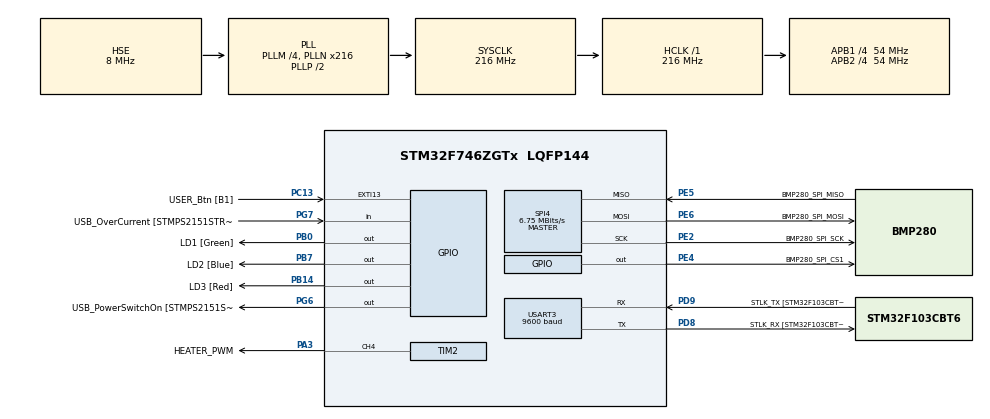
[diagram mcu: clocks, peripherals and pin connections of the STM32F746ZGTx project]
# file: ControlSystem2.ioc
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Mcu.Family=STM32F7
Mcu.Name=STM32F746ZGTx
Mcu.Package=LQFP144
NVIC.PriorityGroup=NVIC_PRIORITYGROUP_4
NVIC.USART3_IRQn=true\:0\:0\:false\:false\:true\:true\:true\:true
PA1.GPIO_Label=RMII_REF_CLK [LAN8742A-CZ-TR_REFCLK0]
PA1.Signal=ETH_REF_CLK
PA10.GPIO_Label=USB_ID
PA10.Signal=USB_OTG_FS_ID
PA11.GPIO_Label=USB_DM
PA11.Signal=USB_OTG_FS_DM
PA12.GPIO_Label=USB_DP
PA12.Signal=USB_OTG_FS_DP
PA13.GPIO_Label=TMS
PA13.Mode=Serial_Wire
PA13.Signal=SYS_JTMS-SWDIO
PA14.GPIO_Label=TCK
PA14.Mode=Serial_Wire
PA14.Signal=SYS_JTCK-SWCLK
PA2.GPIO_Label=RMII_MDIO [LAN8742A-CZ-TR_MDIO]
PA2.Signal=ETH_MDIO
PA3.GPIO_Label=HEATER_PWM
PA3.Signal=S_TIM2_CH4
PA7.GPIO_Label=RMII_CRS_DV [LAN8742A-CZ-TR_CRS_DV]
PA7.Signal=ETH_CRS_DV
PA8.GPIO_Label=USB_SOF [TP1]
PA8.Signal=USB_OTG_FS_SOF
PA9.GPIO_Label=USB_VBUS
PA9.Signal=USB_OTG_FS_VBUS
PB0.GPIO_Label=LD1 [Green]
PB0.Signal=GPIO_Output
PB13.GPIO_Label=RMII_TXD1 [LAN8742A-CZ-TR_TXD1]
PB13.Signal=ETH_TXD1
PB14.GPIO_Label=LD3 [Red]
PB14.Signal=GPIO_Output
PB3.GPIO_Label=SW0
PB3.Signal=SYS_JTDO-SWO
PB7.GPIO_Label=LD2 [Blue]
PB7.Signal=GPIO_Output
PC1.GPIO_Label=RMII_MDC [LAN8742A-CZ-TR_MDC]
PC1.Signal=ETH_MDC
PC13.GPIO_Label=USER_Btn [B1]
PC13.Signal=GPXTI13
PC14/OSC32_IN.Mode=LSE-External-Oscillator
PC14/OSC32_IN.Signal=RCC_OSC32_IN
PC15/OSC32_OUT.Mode=LSE-External-Oscillator
PC15/OSC32_OUT.Signal=RCC_OSC32_OUT
PC4.GPIO_Label=RMII_RXD0 [LAN8742A-CZ-TR_RXD0]
PC4.Signal=ETH_RXD0
PC5.GPIO_Label=RMII_RXD1 [LAN8742A-CZ-TR_RXD1]
PC5.Signal=ETH_RXD1
PD8.GPIO_Label=STLK_RX [STM32F103CBT6_PA3]
PD8.GPIO_PuPd=GPIO_PULLUP
PD8.Mode=Asynchronous
PD8.Signal=USART3_TX
PD9.GPIO_Label=STLK_TX [STM32F103CBT6_PA2]
PD9.GPIO_PuPd=GPIO_PULLUP
PD9.Mode=Asynchronous
PD9.Signal=USART3_RX
PE2.GPIO_Label=BMP280_SPI_SCK
PE2.Mode=Full_Duplex_Master
PE2.Signal=SPI4_SCK
PE4.GPIO_Label=BMP280_SPI_CS1
PE4.Signal=GPIO_Output
PE5.GPIO_Label=BMP280_SPI_MISO
PE5.Mode=Full_Duplex_Master
PE5.Signal=SPI4_MISO
PE6.GPIO_Label=BMP280_SPI_MOSI
PE6.Mode=Full_Duplex_Master
PE6.Signal=SPI4_MOSI
PG11.GPIO_Label=RMII_TX_EN [LAN8742A-CZ-TR_TXEN]
PG11.Signal=ETH_TX_EN
PG13.GPIO_Label=RMII_TXD0 [LAN8742A-CZ-TR_TXD0]
PG13.Signal=ETH_TXD0
PG6.GPIO_Label=USB_PowerSwitchOn [STMPS2151STR_EN]
PG6.Signal=GPIO_Output
PG7.GPIO_Label=USB_OverCurrent [STMPS2151STR_FAULT]
PG7.Signal=GPIO_Input
PH0/OSC_IN.GPIO_Label=MCO [STM32F103CBT6_PA8]
PH0/OSC_IN.Mode=HSE-External-Clock-Source
PH0/OSC_IN.Signal=RCC_OSC_IN
PH1/OSC_OUT.Mode=HSE-External-Clock-Source
PH1/OSC_OUT.Signal=RCC_OSC_OUT
ProjectManager.HeapSize=0x200
ProjectManager.StackSize=0x400
ProjectManager.TargetToolchain=STM32CubeIDE
RCC.48MHZClocksFreq_Value=24000000
RCC.AHBFreq_Value=216000000
RCC.APB1CLKDivider=RCC_HCLK_DIV4
RCC.APB1Freq_Value=54000000
RCC.APB1TimFreq_Value=108000000
RCC.APB2CLKDivider=RCC_HCLK_DIV4
RCC.APB2Freq_Value=54000000
RCC.APB2TimFreq_Value=108000000
RCC.CortexFreq_Value=216000000
RCC.HCLKFreq_Value=216000000
RCC.HSE_VALUE=8000000
RCC.HSI_VALUE=16000000
RCC.PLLM=4
RCC.PLLMUL=RCC_PLL_MUL9
RCC.PLLN=216
RCC.PLLQ=3
RCC.PLLSourceVirtual=RCC_PLLSOURCE_HSE
RCC.PRESCALERUSB=RCC_USBCLKSOURCE_PLL_DIV1_5
RCC.SYSCLKFreq_VALUE=216000000
RCC.SYSCLKSource=RCC_SYSCLKSOURCE_PLLCLK
RCC.SYSCLKSourceVirtual=RCC_SYSCLKSOURCE_PLLCLK
RCC.USBFreq_Value=144000000
RCC.VCOOutputFreq_Value=432000000
SH.S_TIM2_CH4.0=TIM2_CH4,PWM Generation4 CH4
SPI4.BaudRatePrescaler=SPI_BAUDRATEPRESCALER_8
SPI4.CLKPhase=SPI_PHASE_2EDGE
SPI4.CLKPolarity=SPI_POLARITY_HIGH
SPI4.CalculateBaudRate=6.75 MBits/s
SPI4.DataSize=SPI_DATASIZE_8BIT
SPI4.Direction=SPI_DIRECTION_2LINES
SPI4.Mode=SPI_MODE_MASTER
SPI4.VirtualType=VM_MASTER
TIM2.Channel-PWM\ Generation4\ CH4=TIM_CHANNEL_4
TIM2.Period=1000-1
TIM2.Prescaler=108-1
TIM7.Period=9999
TIM7.Prescaler=10799
USART3.BaudRate=9600
USART3.VirtualMode-Asynchronous=VM_ASYNC
VP_TIM2_VS_ClockSourceINT.Mode=Internal
VP_TIM7_VS_ClockSourceINT.Mode=Enable_Timer
board=NUCLEO-F746ZG

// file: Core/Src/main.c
/* USER CODE BEGIN Header */
/**
  ******************************************************************************
  * @file           : main.c
  * @brief          : Main program body
  ******************************************************************************
  * @attention
  *
  * Copyright (c) 2024 STMicroelectronics.
  * All rights reserved.
  *
  * This software is licensed under terms that can be found in the LICENSE file
  * in the root directory of this software component.
  * If no LICENSE file comes with this software, it is provided AS-IS.
  *
  ******************************************************************************
  */

/* USER CODE END Header */
#include "main.h"
#include "spi.h"
#include "tim.h"
#include "usart.h"
#include "gpio.h"
#include "pid.h"
/* USER CODE BEGIN Includes */

#include <stdio.h>
#include <stdlib.h>
#include "bmp2_config.h"
#include "heater_config.h"

/* USER CODE END Includes */

/* USER CODE BEGIN PV */
float setpoint = 0.0f;
float temp_degC = 0.0f;
float feedback = 0.0f;
uint8_t tx_buffer[8];
const int tx_msg_len = 4;
PID pid1 = { .params.Kp = 7, .params.Ki = 0.0035, .params.Kd = 0, .params.Ts = 1, .previous_error = 0, .previous_integral = 0};
/* USER CODE END PV */

void SystemClock_Config(void);

/* USER CODE BEGIN 0 */

int _write(int file, char *ptr, int len)
{
  return (HAL_UART_Transmit(&huart3, (uint8_t*)ptr, len, HAL_MAX_DELAY) == HAL_OK) ? len : -1;
}

void HAL_UART_RxCpltCallback(UART_HandleTypeDef *huart)
{
 if(huart == &huart3)
 {
   HAL_UART_Receive_IT(&huart3, tx_buffer, tx_msg_len);
 }
}

/* USER CODE END 0 */

int main(void)
{

  /* MCU Configuration--------------------------------------------------------*/

  /* Reset of all peripherals, Initializes the Flash interface and the Systick. */
  HAL_Init();

  /* Configure the system clock */
  SystemClock_Config();

  /* Initialize all configured peripherals */
  MX_GPIO_Init();
  MX_USART3_UART_Init();
  MX_SPI4_Init();
  MX_TIM2_Init();
  MX_TIM7_Init();
  /* USER CODE BEGIN 2 */

  BMP2_Init(&bmp2dev);
  HAL_UART_Receive_IT(&huart3, tx_buffer, tx_msg_len);
  /* USER CODE END 2 */

  /* Infinite loop */
  /* USER CODE BEGIN WHILE */
  while (1)
  {

    setpoint = atof((char*)&tx_buffer[0]);
    temp_degC = BMP2_ReadTemperature_degC(&bmp2dev);

    HAL_Delay(1000);
    float pwm_duty_f = (CalculatePID(&pid1, setpoint, temp_degC)); //calculate pid parameters and assign to the variable
        uint16_t pwm_duty = 0;
        //handle limits
        if(pwm_duty_f < 0) pwm_duty = 0;
        else if(pwm_duty_f > 999) pwm_duty = 999;
        else pwm_duty = (uint16_t)pwm_duty_f;

        __HAL_TIM_SET_COMPARE(&htim2, TIM_CHANNEL_4, pwm_duty); //set pid parameters as pwm value
        printf("{\"id\":1,\"temp\":%5.2f \"Setpoint\": %5.2f \"PID\": %5.2f }\r\n", temp_degC ,setpoint, pwm_duty_f);

    /* USER CODE END WHILE */

  }
}

void SystemClock_Config(void)
{
  RCC_OscInitTypeDef RCC_OscInitStruct = {0};
  RCC_ClkInitTypeDef RCC_ClkInitStruct = {0};

  /** Configure LSE Drive Capability
  */
  HAL_PWR_EnableBkUpAccess();

  /** Configure the main internal regulator output voltage
  */
  __HAL_RCC_PWR_CLK_ENABLE();
  __HAL_PWR_VOLTAGESCALING_CONFIG(PWR_REGULATOR_VOLTAGE_SCALE1);

  /** Initializes the RCC Oscillators according to the specified parameters
  * in the RCC_OscInitTypeDef structure.
  */
  RCC_OscInitStruct.OscillatorType = RCC_OSCILLATORTYPE_HSE;
  RCC_OscInitStruct.HSEState = RCC_HSE_BYPASS;
  RCC_OscInitStruct.PLL.PLLState = RCC_PLL_ON;
  RCC_OscInitStruct.PLL.PLLSource = RCC_PLLSOURCE_HSE;
  RCC_OscInitStruct.PLL.PLLM = 4;
  RCC_OscInitStruct.PLL.PLLN = 216;
  RCC_OscInitStruct.PLL.PLLP = RCC_PLLP_DIV2;
  RCC_OscInitStruct.PLL.PLLQ = 3;
  if (HAL_RCC_OscConfig(&RCC_OscInitStruct) != HAL_OK)
  {
    Error_Handler();
  }

  /** Activate the Over-Drive mode
  */
  if (HAL_PWREx_EnableOverDrive() != HAL_OK)
  {
    Error_Handler();
  }

  /** Initializes the CPU, AHB and APB buses clocks
  */
  RCC_ClkInitStruct.ClockType = RCC_CLOCKTYPE_HCLK|RCC_CLOCKTYPE_SYSCLK
                              |RCC_CLOCKTYPE_PCLK1|RCC_CLOCKTYPE_PCLK2;
  RCC_ClkInitStruct.SYSCLKSource = RCC_SYSCLKSOURCE_PLLCLK;
  RCC_ClkInitStruct.AHBCLKDivider = RCC_SYSCLK_DIV1;
  RCC_ClkInitStruct.APB1CLKDivider = RCC_HCLK_DIV4;
  RCC_ClkInitStruct.APB2CLKDivider = RCC_HCLK_DIV4;

  if (HAL_RCC_ClockConfig(&RCC_ClkInitStruct, FLASH_LATENCY_7) != HAL_OK)
  {
    Error_Handler();
  }
}

void Error_Handler(void)
{
  __disable_irq();
  while (1)
  {
  }
}
